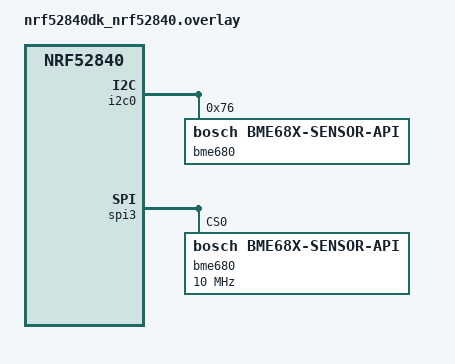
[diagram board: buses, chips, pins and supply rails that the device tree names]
/*
 * SPDX-License-Identifier: Apache-2.0
 *
 * Example DTS overlay with BME680/688 devices connected
 * to each bus type (I2C/SPI).
 */

/* I2C bus the BME680/BME688 device is connected to. */
&i2c0 {
	bme680@76 {
		compatible = "bosch,bme68x-sensor-api";

		/* BME680/688 I2C slave address (0x76 or 0x77) */
		reg = < 0x76 >;
	};
};

/* SPI bus the BME680/688 is connected to. */
&spi3 {
	bme680@0 {
		compatible = "bosch,bme68x-sensor-api";
		reg = < 0 >;

		/* Maximum SPI clock frequency for BME680/688 (10 MHz). */
		spi-max-frequency = < 10000000 >;

		/*
		 * Default: duplex = < 0 > == < SPI_FULL_DUPLEX >;
		 */

		/*
		 * Default: frame-format = < 0 > == < SPI_FRAME_FORMAT_MOTOROLA >;
		 */

		/*
		 * BME680/688 SPI interface supports SPI mode '00' (CPOL = CPHA = '0')
		 * and mode '11' (CPOL = CPHA = '1').
		 *
		 * If not set, default to: '00'.
		 */
		spi-cpol;
		spi-cpha;
	};
};
